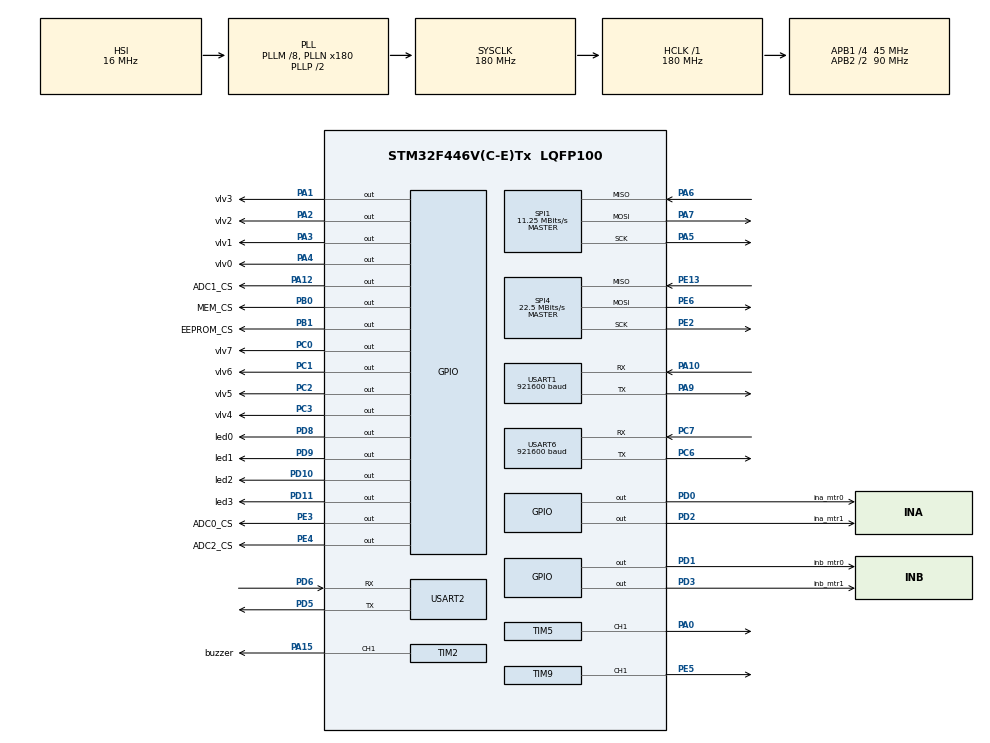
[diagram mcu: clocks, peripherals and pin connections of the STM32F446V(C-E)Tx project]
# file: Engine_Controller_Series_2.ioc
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Dma.Request0=USART6_RX
Dma.USART6_RX.0.Direction=DMA_PERIPH_TO_MEMORY
Dma.USART6_RX.0.FIFOMode=DMA_FIFOMODE_DISABLE
Dma.USART6_RX.0.Instance=DMA2_Stream1
Dma.USART6_RX.0.MemDataAlignment=DMA_MDATAALIGN_BYTE
Dma.USART6_RX.0.MemInc=DMA_MINC_ENABLE
Dma.USART6_RX.0.Mode=DMA_NORMAL
Dma.USART6_RX.0.PeriphDataAlignment=DMA_PDATAALIGN_BYTE
Dma.USART6_RX.0.PeriphInc=DMA_PINC_DISABLE
Dma.USART6_RX.0.Priority=DMA_PRIORITY_HIGH
IWDG.Prescaler=IWDG_PRESCALER_16
Mcu.Family=STM32F4
Mcu.Name=STM32F446V(C-E)Tx
Mcu.Package=LQFP100
NVIC.DMA2_Stream1_IRQn=true\:0\:0\:false\:false\:true\:false
NVIC.PriorityGroup=NVIC_PRIORITYGROUP_4
NVIC.TIM4_IRQn=true\:1\:0\:true\:false\:true\:true
NVIC.TIM6_DAC_IRQn=true\:1\:0\:true\:false\:true\:true
NVIC.USART1_IRQn=true\:1\:0\:true\:false\:true\:true
NVIC.USART6_IRQn=true\:0\:0\:true\:false\:true\:true
PA0-WKUP.Signal=S_TIM5_CH1
PA1.GPIO_Label=vlv3
PA1.Signal=GPIO_Output
PA10.Mode=Asynchronous
PA10.Signal=USART1_RX
PA12.GPIO_Label=ADC1_CS
PA12.Signal=GPIO_Output
PA13.Mode=Trace_Asynchronous_SW
PA13.Signal=SYS_JTMS-SWDIO
PA14.Mode=Trace_Asynchronous_SW
PA14.Signal=SYS_JTCK-SWCLK
PA15.GPIO_Label=buzzer
PA15.Signal=S_TIM2_CH1_ETR
PA2.GPIO_Label=vlv2
PA2.Signal=GPIO_Output
PA3.GPIO_Label=vlv1
PA3.Signal=GPIO_Output
PA4.GPIO_Label=vlv0
PA4.Signal=GPIO_Output
PA5.Mode=Full_Duplex_Master
PA5.Signal=SPI1_SCK
PA6.Mode=Full_Duplex_Master
PA6.Signal=SPI1_MISO
PA7.Mode=Full_Duplex_Master
PA7.Signal=SPI1_MOSI
PA9.Mode=Asynchronous
PA9.Signal=USART1_TX
PB0.GPIO_Label=MEM_CS
PB0.Signal=GPIO_Output
PB1.GPIO_Label=EEPROM_CS
PB1.Signal=GPIO_Output
PB3.Mode=Trace_Asynchronous_SW
PB3.Signal=SYS_JTDO-SWO
PC0.GPIO_Label=vlv7
PC0.Signal=GPIO_Output
PC1.GPIO_Label=vlv6
PC1.Signal=GPIO_Output
PC2.GPIO_Label=vlv5
PC2.Signal=GPIO_Output
PC3.GPIO_Label=vlv4
PC3.Signal=GPIO_Output
PC6.Mode=Asynchronous
PC6.Signal=USART6_TX
PC7.Mode=Asynchronous
PC7.Signal=USART6_RX
PD0.GPIO_Label=ina_mtr0
PD0.Signal=GPIO_Output
PD1.GPIO_Label=inb_mtr0
PD1.Signal=GPIO_Output
PD10.GPIO_Label=led2
PD10.Signal=GPIO_Output
PD11.GPIO_Label=led3
PD11.Signal=GPIO_Output
PD2.GPIO_Label=ina_mtr1
PD2.Signal=GPIO_Output
PD3.GPIO_Label=inb_mtr1
PD3.Signal=GPIO_Output
PD5.Mode=Asynchronous
PD5.Signal=USART2_TX
PD6.Mode=Asynchronous
PD6.Signal=USART2_RX
PD8.GPIO_Label=led0
PD8.Signal=GPIO_Output
PD9.GPIO_Label=led1
PD9.Signal=GPIO_Output
PE13.Mode=Full_Duplex_Master
PE13.Signal=SPI4_MISO
PE2.Mode=Full_Duplex_Master
PE2.Signal=SPI4_SCK
PE3.GPIO_Label=ADC0_CS
PE3.Signal=GPIO_Output
PE4.GPIO_Label=ADC2_CS
PE4.Signal=GPIO_Output
PE5.Signal=S_TIM9_CH1
PE6.Mode=Full_Duplex_Master
PE6.Signal=SPI4_MOSI
ProjectManager.HeapSize=0x200
ProjectManager.StackSize=0x400
ProjectManager.TargetToolchain=TrueSTUDIO
RCC.AHBFreq_Value=180000000
RCC.APB1CLKDivider=RCC_HCLK_DIV4
RCC.APB1Freq_Value=45000000
RCC.APB1TimFreq_Value=90000000
RCC.APB2CLKDivider=RCC_HCLK_DIV2
RCC.APB2Freq_Value=90000000
RCC.APB2TimFreq_Value=180000000
RCC.CortexFreq_Value=180000000
RCC.HCLKFreq_Value=180000000
RCC.HSE_VALUE=16000000
RCC.PLLM=8
RCC.PLLN=180
RCC.SYSCLKFreq_VALUE=180000000
RCC.SYSCLKSource=RCC_SYSCLKSOURCE_PLLCLK
RCC.USBFreq_Value=180000000
RCC.VCOOutputFreq_Value=360000000
SH.S_TIM2_CH1_ETR.0=TIM2_CH1,PWM Generation1 CH1
SH.S_TIM5_CH1.0=TIM5_CH1,PWM Generation1 CH1
SH.S_TIM9_CH1.0=TIM9_CH1,PWM Generation1 CH1
SPI1.BaudRatePrescaler=SPI_BAUDRATEPRESCALER_8
SPI1.CLKPhase=SPI_PHASE_2EDGE
SPI1.CLKPolarity=SPI_POLARITY_HIGH
SPI1.CalculateBaudRate=11.25 MBits/s
SPI1.Direction=SPI_DIRECTION_2LINES
SPI1.Mode=SPI_MODE_MASTER
SPI1.VirtualType=VM_MASTER
SPI4.BaudRatePrescaler=SPI_BAUDRATEPRESCALER_4
SPI4.CalculateBaudRate=22.5 MBits/s
SPI4.Direction=SPI_DIRECTION_2LINES
SPI4.Mode=SPI_MODE_MASTER
SPI4.VirtualType=VM_MASTER
TIM10.Period=4000
TIM10.Prescaler=180
TIM2.Channel-PWM\ Generation1\ CH1=TIM_CHANNEL_1
TIM2.Period=4294967295
TIM2.Prescaler=90
TIM4.Period=10000
TIM4.Prescaler=900
TIM5.Channel-PWM\ Generation1\ CH1=TIM_CHANNEL_1
TIM5.Prescaler=0
TIM6.Period=10000
TIM6.Prescaler=900
TIM7.Prescaler=900
TIM8.Period=32768
TIM8.Prescaler=4
TIM9.Channel-PWM\ Generation1\ CH1=TIM_CHANNEL_1
TIM9.Period=32768
TIM9.Prescaler=0
USART1.BaudRate=921600
USART1.VirtualMode=VM_ASYNC
USART2.VirtualMode=VM_ASYNC
USART6.BaudRate=921600
USART6.VirtualMode=VM_ASYNC
VP_IWDG_VS_IWDG.Mode=IWDG_Activate
VP_TIM10_VS_ClockSourceINT.Mode=Enable_Timer
VP_TIM3_VS_ClockSourceINT.Mode=Internal
VP_TIM4_VS_ClockSourceINT.Mode=Internal
VP_TIM6_VS_ClockSourceINT.Mode=Enable_Timer
VP_TIM7_VS_ClockSourceINT.Mode=Enable_Timer
VP_TIM8_VS_ClockSourceINT.Mode=Internal
board=Engine_Controller_Series_2

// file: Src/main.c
/**
  ******************************************************************************
  * @file           : main.c
  * @brief          : Main program body
  ******************************************************************************
  ** This notice applies to any and all portions of this file
  * that are not between comment pairs USER CODE BEGIN and
  * USER CODE END. Other portions of this file, whether
  * inserted by the user or by software development tools
  * are owned by their respective copyright owners.
  *
  * COPYRIGHT(c) 2018 STMicroelectronics
  *
  * Redistribution and use in source and binary forms, with or without modification,
  * are permitted provided that the following conditions are met:
  *   1. Redistributions of source code must retain the above copyright notice,
  *      this list of conditions and the following disclaimer.
  *   2. Redistributions in binary form must reproduce the above copyright notice,
  *      this list of conditions and the following disclaimer in the documentation
  *      and/or other materials provided with the distribution.
  *   3. Neither the name of STMicroelectronics nor the names of its contributors
  *      may be used to endorse or promote products derived from this software
  *      without specific prior written permission.
  *
  * THIS SOFTWARE IS PROVIDED BY THE COPYRIGHT HOLDERS AND CONTRIBUTORS "AS IS"
  * AND ANY EXPRESS OR IMPLIED WARRANTIES, INCLUDING, BUT NOT LIMITED TO, THE
  * IMPLIED WARRANTIES OF MERCHANTABILITY AND FITNESS FOR A PARTICULAR PURPOSE ARE
  * DISCLAIMED. IN NO EVENT SHALL THE COPYRIGHT HOLDER OR CONTRIBUTORS BE LIABLE
  * FOR ANY DIRECT, INDIRECT, INCIDENTAL, SPECIAL, EXEMPLARY, OR CONSEQUENTIAL
  * DAMAGES (INCLUDING, BUT NOT LIMITED TO, PROCUREMENT OF SUBSTITUTE GOODS OR
  * SERVICES; LOSS OF USE, DATA, OR PROFITS; OR BUSINESS INTERRUPTION) HOWEVER
  * CAUSED AND ON ANY THEORY OF LIABILITY, WHETHER IN CONTRACT, STRICT LIABILITY,
  * OR TORT (INCLUDING NEGLIGENCE OR OTHERWISE) ARISING IN ANY WAY OUT OF THE USE
  * OF THIS SOFTWARE, EVEN IF ADVISED OF THE POSSIBILITY OF SUCH DAMAGE.
  *
  ******************************************************************************
  */
#include "main.h"
#include "stm32f4xx_hal.h"

/* USER CODE BEGIN Includes */
#include "stdint.h"
#include "stdlib.h"
#include "globals.h"
#include "calibrations.h"
#include "telem.h"
#include "pack_telem_defines.h"
#include "command.h"
#include "hardware.h"
#include "flash.h"
#include "config.h"
#include "string.h"
/* USER CODE END Includes */

IWDG_HandleTypeDef hiwdg;

SPI_HandleTypeDef hspi1;
SPI_HandleTypeDef hspi4;

TIM_HandleTypeDef htim2;
TIM_HandleTypeDef htim3;
TIM_HandleTypeDef htim4;
TIM_HandleTypeDef htim5;
TIM_HandleTypeDef htim6;
TIM_HandleTypeDef htim7;
TIM_HandleTypeDef htim8;
TIM_HandleTypeDef htim9;
TIM_HandleTypeDef htim10;

UART_HandleTypeDef huart1;
UART_HandleTypeDef huart2;
UART_HandleTypeDef huart6;
DMA_HandleTypeDef hdma_usart6_rx;

/* USER CODE BEGIN PV */
/* Private variables ---------------------------------------------------------*/
#define millis	((__HAL_TIM_GET_COUNTER(&htim2))/1000)

#define DMA_RX_BUFFER_SIZE          (PACKET_SIZE + 2)
uint8_t DMA_RX_Buffer[DMA_RX_BUFFER_SIZE];
//
#define UART_BUFFER_SIZE            256
uint8_t UART_Buffer[UART_BUFFER_SIZE];

/* USER CODE END PV */

void SystemClock_Config(void);
static void MX_GPIO_Init(void);
static void MX_DMA_Init(void);
static void MX_SPI1_Init(void);
static void MX_SPI4_Init(void);
static void MX_TIM2_Init(void);
static void MX_TIM9_Init(void);
static void MX_USART1_UART_Init(void);
static void MX_USART2_UART_Init(void);
static void MX_USART6_UART_Init(void);
static void MX_TIM3_Init(void);
static void MX_TIM4_Init(void);
static void MX_TIM6_Init(void);
static void MX_TIM7_Init(void);
static void MX_TIM8_Init(void);
static void MX_TIM10_Init(void);
static void MX_IWDG_Init(void);
static void MX_TIM5_Init(void);

void HAL_TIM_MspPostInit(TIM_HandleTypeDef *htim);

/* USER CODE BEGIN PFP */
/* Private function prototypes -----------------------------------------------*/

// Function prototypes  ///////////////////////////////////
void print_adc_raw(UART_HandleTypeDef device);				// Print all the ADC things in a decentish table
uint8_t configure_devices();								// Send Configuration data to the spirit.
void send_telem(UART_HandleTypeDef device, uint8_t format);	//
void assemble_telem();

void scale_readings();
void buffer_init(struct buffer *b, uint8_t* data_buffer, size_t size, uint8_t id);
void buffer_read(struct buffer *b, uint8_t* dst, size_t size);
void buffer_write(struct buffer *b, uint8_t* src, size_t size);
void parse_buffer(struct buffer *b);

void error(char * error_message);

void run_auto(struct autosequence *a);
void start_auto(struct autosequence *a);
void stop_auto(struct autosequence *a);
void kill_auto(struct autosequence *a);

/* USER CODE END PFP */

/* USER CODE BEGIN 0 */

void system_init(){
	// Start the timers
	HAL_TIM_Base_Start_IT(&htim4);		// ADC sampling
	HAL_TIM_Base_Start_IT(&htim6);		// rs422 timing
	HAL_TIM_Base_Start_IT(&htim7);		// xbee timing
	HAL_TIM_Base_Start_IT(&htim10);		// motor control timing
	HAL_TIM_Base_Start_IT(&htim2);		// microsecond tick

	HAL_TIM_PWM_Start(&htim9, TIM_CHANNEL_1); 	// mtr0
	HAL_TIM_PWM_Start(&htim5, TIM_CHANNEL_1);	// mtr1

	prime_bridge();

	for(uint8_t n = 0; n < 255; n++){
		upstream_buffer.data[n] = 0;
	}

	HAL_UART_Receive_IT(&huart1, &rs422_in, 1);
	HAL_UART_Receive_IT(&huart6, &uart6_in, 1);
	//HAL_UART_Receive_DMA(&huart6, &uart6_in, PACKET_SIZE+2);

	for(int n = 0; n < 4; n++){
		  command(led0-n,1);
		  HAL_Delay(10);
		  command(led0-n, 0);
	  }

	p = init_parser(BOARD_ID);
	//load_commands(&p);
	add_command(&p, COMMAND_DIGITAL_WRITE, 	digital_write);
	add_command(&p, COMMAND_LED_WRITE, 		led_write);
	add_command(&p, COMMAND_MOTOR_WRITE, 	motor_write);
	add_command(&p, COMMAND_MOTOR_DISABLE, 	motor_disable);
	add_command(&p, COMMAND_MOTOR_ENABLE, 	motor_enable);
	add_command(&p, COMMAND_SET_KP, 		set_kp);
	add_command(&p, COMMAND_SET_KI, 		set_ki);
	add_command(&p, COMMAND_SET_KD, 		set_kd);
	add_command(&p, COMMAND_TELEMRATE_SET, 	telemrate_set);
	add_command(&p, COMMAND_SAMPLERATE_SET, samplerate_set);
	add_command(&p, COMMAND_ARM, 			arm);
	add_command(&p, COMMAND_DISARM, 		disarm);
	add_command(&p, COMMAND_MAIN_AUTO_START,main_auto_start);
	add_command(&p, COMMAND_PWM_SET, 		pwm_set);
	add_command(&p, COMMAND_QD_SET, 		qd_set);
	add_command(&p, COMMAND_TARE, 			tare);
	add_command(&p, COMMAND_AMBIENTIZE, 	ambientize);
	add_command(&p, COMMAND_LOGRATE_SET, 	lograte_set);
	add_command(&p, COMMAND_PRINT_FILE, 	print_file);
	add_command(&p, COMMAND_NUMFILES, 		numfiles);
	add_command(&p, COMMAD_LOG_START, 		log_start);
	add_command(&p, COMMAD_LOG_END, 		log_end);
	add_command(&p, COMMAD_INIT_FS, 		init_fs);
	add_command(&p, COMMAND_TELEM_PAUSE, 		telem_pause);
	add_command(&p, COMMAND_TELEM_RESUME, 		telem_resume);
	add_command(&p, COMMAND_PRIME_BRIDGE,		prime_bridge_wrapper);

	release_device(adc0);
	release_device(adc1);
	release_device(adc2);
	release_device(flash);

  unlock_all(); // Flash init

}

/* USER CODE END 0 */

int main(void)
{

  /* MCU Configuration----------------------------------------------------------*/

  /* Reset of all peripherals, Initializes the Flash interface and the Systick. */
  HAL_Init();

  /* Configure the system clock */
  SystemClock_Config();

  /* Initialize all configured peripherals */
  MX_GPIO_Init();
  MX_DMA_Init();
  MX_SPI1_Init();
  MX_SPI4_Init();
  MX_TIM2_Init();
  MX_TIM9_Init();
  MX_USART1_UART_Init();
  MX_USART2_UART_Init();
  MX_USART6_UART_Init();
  MX_TIM3_Init();
  MX_TIM4_Init();
  MX_TIM6_Init();
  MX_TIM7_Init();
  MX_TIM8_Init();
  MX_TIM10_Init();
  MX_IWDG_Init();
  MX_TIM5_Init();
  /* USER CODE BEGIN 2 */

 	system_init();
 	read_flash_id();

  /* USER CODE END 2 */

  /* Infinite loop */
  /* USER CODE BEGIN WHILE */

 	uint32_t last_motor_millis = 0;

while(1){
	HAL_GPIO_WritePin(led0_GPIO_Port, led0_Pin, 1);
	HAL_Delay(1000);
	HAL_GPIO_WritePin(led0_GPIO_Port, led0_Pin, 0);
		HAL_Delay(1000);

}
  while (1)
  {

#if BOARD_ID == TARGET_ADDRESS_FLIGHT
	  if(STATE == FIRING){
		  run_auto(millis);
		  __HAL_IWDG_RELOAD_COUNTER(&hiwdg);
	  }
#endif
 //Check if packet is in from downstream engine controller
    for(uint8_t n = 0; n < 255; n++){
        if(upstream_buffer.data[n] == (uint8_t) '\n'){
        	command(led1, 1);
        	//__disable_irq();
        	HAL_Delay(0);
//        	while(millis - xmit_counter < xmit_delay);
            HAL_UART_Transmit(&huart1, upstream_buffer.data, n+1, 0xffff);
//            xmit_counter = millis;
            command(led1, 0);
//            send_rs422_now = 1;
//            pack_telem(telem_unstuffed);
//			stuff_telem(telem_unstuffed, telem_stuffed);
//			send_telem(rs422_com, gui_byte_packet);
//			TIME(telemetry_cycle_time);
//			__HAL_IWDG_RELOAD_COUNTER(&hiwdg);

            upstream_buffer.filled = 0;
            for(int j = 0; j < 255; j++){
                upstream_buffer.data[j] = 0;
            }
            //__enable_irq();
            break;
        }
    }

    if(read_adc_now){
        read_adc_now = 0;
        read_adc(&hspi1);
        scale_readings();
        pack_telem(telem_unstuffed);
		stuff_telem(telem_unstuffed, telem_stuffed);
        TIME(adc_cycle_time);
        if(LOGGING_ACTIVE){
        	save_telem(logfile);
        }
    }
#if BOARD_ID == TARGET_ADDRESS_FLIGHT
    if((millis - last_motor_millis) > 10){
        motor_control();
        last_motor_millis = millis;
    }
#endif

    if(send_rs422_now && TELEM_ACTIVE){
        send_rs422_now = 0;

		send_telem(rs422_com, gui_byte_packet);
        //xmit_counter = millis;

        TIME(telemetry_cycle_time);
        //__HAL_IWDG_RELOAD_COUNTER(&hiwdg);
    }

if(p.buffer[p.filled - 1] == 0){
run_parser(&p);
}

  /* USER CODE END WHILE */

  }

}

void SystemClock_Config(void)
{

  RCC_OscInitTypeDef RCC_OscInitStruct;
  RCC_ClkInitTypeDef RCC_ClkInitStruct;

    /**Configure the main internal regulator output voltage
    */
  __HAL_RCC_PWR_CLK_ENABLE();

  __HAL_PWR_VOLTAGESCALING_CONFIG(PWR_REGULATOR_VOLTAGE_SCALE1);

    /**Initializes the CPU, AHB and APB busses clocks
    */
  RCC_OscInitStruct.OscillatorType = RCC_OSCILLATORTYPE_HSI|RCC_OSCILLATORTYPE_LSI;
  RCC_OscInitStruct.HSIState = RCC_HSI_ON;
  RCC_OscInitStruct.HSICalibrationValue = 16;
  RCC_OscInitStruct.LSIState = RCC_LSI_ON;
  RCC_OscInitStruct.PLL.PLLState = RCC_PLL_ON;
  RCC_OscInitStruct.PLL.PLLSource = RCC_PLLSOURCE_HSI;
  RCC_OscInitStruct.PLL.PLLM = 8;
  RCC_OscInitStruct.PLL.PLLN = 180;
  RCC_OscInitStruct.PLL.PLLP = RCC_PLLP_DIV2;
  RCC_OscInitStruct.PLL.PLLQ = 2;
  RCC_OscInitStruct.PLL.PLLR = 2;
  if (HAL_RCC_OscConfig(&RCC_OscInitStruct) != HAL_OK)
  {
    _Error_Handler(__FILE__, __LINE__);
  }

    /**Activate the Over-Drive mode
    */
  if (HAL_PWREx_EnableOverDrive() != HAL_OK)
  {
    _Error_Handler(__FILE__, __LINE__);
  }

    /**Initializes the CPU, AHB and APB busses clocks
    */
  RCC_ClkInitStruct.ClockType = RCC_CLOCKTYPE_HCLK|RCC_CLOCKTYPE_SYSCLK
                              |RCC_CLOCKTYPE_PCLK1|RCC_CLOCKTYPE_PCLK2;
  RCC_ClkInitStruct.SYSCLKSource = RCC_SYSCLKSOURCE_PLLCLK;
  RCC_ClkInitStruct.AHBCLKDivider = RCC_SYSCLK_DIV1;
  RCC_ClkInitStruct.APB1CLKDivider = RCC_HCLK_DIV4;
  RCC_ClkInitStruct.APB2CLKDivider = RCC_HCLK_DIV2;

  if (HAL_RCC_ClockConfig(&RCC_ClkInitStruct, FLASH_LATENCY_5) != HAL_OK)
  {
    _Error_Handler(__FILE__, __LINE__);
  }

    /**Configure the Systick interrupt time
    */
  HAL_SYSTICK_Config(HAL_RCC_GetHCLKFreq()/1000);

    /**Configure the Systick
    */
  HAL_SYSTICK_CLKSourceConfig(SYSTICK_CLKSOURCE_HCLK);

  /* SysTick_IRQn interrupt configuration */
  HAL_NVIC_SetPriority(SysTick_IRQn, 1, 0);
}

/* IWDG init function */
static void MX_IWDG_Init(void)
{

  hiwdg.Instance = IWDG;
  hiwdg.Init.Prescaler = IWDG_PRESCALER_16;
  hiwdg.Init.Reload = 4095;
  if (HAL_IWDG_Init(&hiwdg) != HAL_OK)
  {
    _Error_Handler(__FILE__, __LINE__);
  }

}

/* SPI1 init function */
static void MX_SPI1_Init(void)
{

  /* SPI1 parameter configuration*/
  hspi1.Instance = SPI1;
  hspi1.Init.Mode = SPI_MODE_MASTER;
  hspi1.Init.Direction = SPI_DIRECTION_2LINES;
  hspi1.Init.DataSize = SPI_DATASIZE_8BIT;
  hspi1.Init.CLKPolarity = SPI_POLARITY_HIGH;
  hspi1.Init.CLKPhase = SPI_PHASE_2EDGE;
  hspi1.Init.NSS = SPI_NSS_SOFT;
  hspi1.Init.BaudRatePrescaler = SPI_BAUDRATEPRESCALER_8;
  hspi1.Init.FirstBit = SPI_FIRSTBIT_MSB;
  hspi1.Init.TIMode = SPI_TIMODE_DISABLE;
  hspi1.Init.CRCCalculation = SPI_CRCCALCULATION_DISABLE;
  hspi1.Init.CRCPolynomial = 10;
  if (HAL_SPI_Init(&hspi1) != HAL_OK)
  {
    _Error_Handler(__FILE__, __LINE__);
  }

}

/* SPI4 init function */
static void MX_SPI4_Init(void)
{

  /* SPI4 parameter configuration*/
  hspi4.Instance = SPI4;
  hspi4.Init.Mode = SPI_MODE_MASTER;
  hspi4.Init.Direction = SPI_DIRECTION_2LINES;
  hspi4.Init.DataSize = SPI_DATASIZE_8BIT;
  hspi4.Init.CLKPolarity = SPI_POLARITY_LOW;
  hspi4.Init.CLKPhase = SPI_PHASE_1EDGE;
  hspi4.Init.NSS = SPI_NSS_SOFT;
  hspi4.Init.BaudRatePrescaler = SPI_BAUDRATEPRESCALER_4;
  hspi4.Init.FirstBit = SPI_FIRSTBIT_MSB;
  hspi4.Init.TIMode = SPI_TIMODE_DISABLE;
  hspi4.Init.CRCCalculation = SPI_CRCCALCULATION_DISABLE;
  hspi4.Init.CRCPolynomial = 10;
  if (HAL_SPI_Init(&hspi4) != HAL_OK)
  {
    _Error_Handler(__FILE__, __LINE__);
  }

}

/* TIM2 init function */
static void MX_TIM2_Init(void)
{

  TIM_MasterConfigTypeDef sMasterConfig;
  TIM_OC_InitTypeDef sConfigOC;

  htim2.Instance = TIM2;
  htim2.Init.Prescaler = 90;
  htim2.Init.CounterMode = TIM_COUNTERMODE_UP;
  htim2.Init.Period = 4294967295;
  htim2.Init.ClockDivision = TIM_CLOCKDIVISION_DIV1;
  if (HAL_TIM_PWM_Init(&htim2) != HAL_OK)
  {
    _Error_Handler(__FILE__, __LINE__);
  }

  sMasterConfig.MasterOutputTrigger = TIM_TRGO_RESET;
  sMasterConfig.MasterSlaveMode = TIM_MASTERSLAVEMODE_DISABLE;
  if (HAL_TIMEx_MasterConfigSynchronization(&htim2, &sMasterConfig) != HAL_OK)
  {
    _Error_Handler(__FILE__, __LINE__);
  }

  sConfigOC.OCMode = TIM_OCMODE_PWM1;
  sConfigOC.Pulse = 0;
  sConfigOC.OCPolarity = TIM_OCPOLARITY_HIGH;
  sConfigOC.OCFastMode = TIM_OCFAST_DISABLE;
  if (HAL_TIM_PWM_ConfigChannel(&htim2, &sConfigOC, TIM_CHANNEL_1) != HAL_OK)
  {
    _Error_Handler(__FILE__, __LINE__);
  }

  HAL_TIM_MspPostInit(&htim2);

}

/* TIM3 init function */
static void MX_TIM3_Init(void)
{

  TIM_ClockConfigTypeDef sClockSourceConfig;
  TIM_MasterConfigTypeDef sMasterConfig;

  htim3.Instance = TIM3;
  htim3.Init.Prescaler = 0;
  htim3.Init.CounterMode = TIM_COUNTERMODE_UP;
  htim3.Init.Period = 0;
  htim3.Init.ClockDivision = TIM_CLOCKDIVISION_DIV1;
  if (HAL_TIM_Base_Init(&htim3) != HAL_OK)
  {
    _Error_Handler(__FILE__, __LINE__);
  }

  sClockSourceConfig.ClockSource = TIM_CLOCKSOURCE_INTERNAL;
  if (HAL_TIM_ConfigClockSource(&htim3, &sClockSourceConfig) != HAL_OK)
  {
    _Error_Handler(__FILE__, __LINE__);
  }

  sMasterConfig.MasterOutputTrigger = TIM_TRGO_RESET;
  sMasterConfig.MasterSlaveMode = TIM_MASTERSLAVEMODE_DISABLE;
  if (HAL_TIMEx_MasterConfigSynchronization(&htim3, &sMasterConfig) != HAL_OK)
  {
    _Error_Handler(__FILE__, __LINE__);
  }

}

/* TIM4 init function */
static void MX_TIM4_Init(void)
{

  TIM_ClockConfigTypeDef sClockSourceConfig;
  TIM_MasterConfigTypeDef sMasterConfig;

  htim4.Instance = TIM4;
  htim4.Init.Prescaler = 900;
  htim4.Init.CounterMode = TIM_COUNTERMODE_UP;
  htim4.Init.Period = 10000;
  htim4.Init.ClockDivision = TIM_CLOCKDIVISION_DIV1;
  if (HAL_TIM_Base_Init(&htim4) != HAL_OK)
  {
    _Error_Handler(__FILE__, __LINE__);
  }

  sClockSourceConfig.ClockSource = TIM_CLOCKSOURCE_INTERNAL;
  if (HAL_TIM_ConfigClockSource(&htim4, &sClockSourceConfig) != HAL_OK)
  {
    _Error_Handler(__FILE__, __LINE__);
  }

  sMasterConfig.MasterOutputTrigger = TIM_TRGO_RESET;
  sMasterConfig.MasterSlaveMode = TIM_MASTERSLAVEMODE_DISABLE;
  if (HAL_TIMEx_MasterConfigSynchronization(&htim4, &sMasterConfig) != HAL_OK)
  {
    _Error_Handler(__FILE__, __LINE__);
  }

}

/* TIM5 init function */
static void MX_TIM5_Init(void)
{

  TIM_MasterConfigTypeDef sMasterConfig;
  TIM_OC_InitTypeDef sConfigOC;

  htim5.Instance = TIM5;
  htim5.Init.Prescaler = 0;
  htim5.Init.CounterMode = TIM_COUNTERMODE_UP;
  htim5.Init.Period = 0;
  htim5.Init.ClockDivision = TIM_CLOCKDIVISION_DIV1;
  if (HAL_TIM_PWM_Init(&htim5) != HAL_OK)
  {
    _Error_Handler(__FILE__, __LINE__);
  }

  sMasterConfig.MasterOutputTrigger = TIM_TRGO_RESET;
  sMasterConfig.MasterSlaveMode = TIM_MASTERSLAVEMODE_DISABLE;
  if (HAL_TIMEx_MasterConfigSynchronization(&htim5, &sMasterConfig) != HAL_OK)
  {
    _Error_Handler(__FILE__, __LINE__);
  }

  sConfigOC.OCMode = TIM_OCMODE_PWM1;
  sConfigOC.Pulse = 0;
  sConfigOC.OCPolarity = TIM_OCPOLARITY_HIGH;
  sConfigOC.OCFastMode = TIM_OCFAST_DISABLE;
  if (HAL_TIM_PWM_ConfigChannel(&htim5, &sConfigOC, TIM_CHANNEL_1) != HAL_OK)
  {
    _Error_Handler(__FILE__, __LINE__);
  }

  HAL_TIM_MspPostInit(&htim5);

}

/* TIM6 init function */
static void MX_TIM6_Init(void)
{

  TIM_MasterConfigTypeDef sMasterConfig;

  htim6.Instance = TIM6;
  htim6.Init.Prescaler = 900;
  htim6.Init.CounterMode = TIM_COUNTERMODE_UP;
  htim6.Init.Period = 10000;
  if (HAL_TIM_Base_Init(&htim6) != HAL_OK)
  {
    _Error_Handler(__FILE__, __LINE__);
  }

  sMasterConfig.MasterOutputTrigger = TIM_TRGO_RESET;
  sMasterConfig.MasterSlaveMode = TIM_MASTERSLAVEMODE_DISABLE;
  if (HAL_TIMEx_MasterConfigSynchronization(&htim6, &sMasterConfig) != HAL_OK)
  {
    _Error_Handler(__FILE__, __LINE__);
  }

}

/* TIM7 init function */
static void MX_TIM7_Init(void)
{

  TIM_MasterConfigTypeDef sMasterConfig;

  htim7.Instance = TIM7;
  htim7.Init.Prescaler = 900;
  htim7.Init.CounterMode = TIM_COUNTERMODE_UP;
  htim7.Init.Period = 0;
  if (HAL_TIM_Base_Init(&htim7) != HAL_OK)
  {
    _Error_Handler(__FILE__, __LINE__);
  }

  sMasterConfig.MasterOutputTrigger = TIM_TRGO_RESET;
  sMasterConfig.MasterSlaveMode = TIM_MASTERSLAVEMODE_DISABLE;
  if (HAL_TIMEx_MasterConfigSynchronization(&htim7, &sMasterConfig) != HAL_OK)
  {
    _Error_Handler(__FILE__, __LINE__);
  }

}

/* TIM8 init function */
static void MX_TIM8_Init(void)
{

  TIM_ClockConfigTypeDef sClockSourceConfig;
  TIM_MasterConfigTypeDef sMasterConfig;

  htim8.Instance = TIM8;
  htim8.Init.Prescaler = 4;
  htim8.Init.CounterMode = TIM_COUNTERMODE_UP;
  htim8.Init.Period = 32768;
  htim8.Init.ClockDivision = TIM_CLOCKDIVISION_DIV1;
  htim8.Init.RepetitionCounter = 0;
  if (HAL_TIM_Base_Init(&htim8) != HAL_OK)
  {
    _Error_Handler(__FILE__, __LINE__);
  }

  sClockSourceConfig.ClockSource = TIM_CLOCKSOURCE_INTERNAL;
  if (HAL_TIM_ConfigClockSource(&htim8, &sClockSourceConfig) != HAL_OK)
  {
    _Error_Handler(__FILE__, __LINE__);
  }

  sMasterConfig.MasterOutputTrigger = TIM_TRGO_RESET;
  sMasterConfig.MasterSlaveMode = TIM_MASTERSLAVEMODE_DISABLE;
  if (HAL_TIMEx_MasterConfigSynchronization(&htim8, &sMasterConfig) != HAL_OK)
  {
    _Error_Handler(__FILE__, __LINE__);
  }

}

/* TIM9 init function */
static void MX_TIM9_Init(void)
{

  TIM_OC_InitTypeDef sConfigOC;

  htim9.Instance = TIM9;
  htim9.Init.Prescaler = 0;
  htim9.Init.CounterMode = TIM_COUNTERMODE_UP;
  htim9.Init.Period = 32768;
  htim9.Init.ClockDivision = TIM_CLOCKDIVISION_DIV1;
  if (HAL_TIM_PWM_Init(&htim9) != HAL_OK)
  {
    _Error_Handler(__FILE__, __LINE__);
  }

  sConfigOC.OCMode = TIM_OCMODE_PWM1;
  sConfigOC.Pulse = 0;
  sConfigOC.OCPolarity = TIM_OCPOLARITY_HIGH;
  sConfigOC.OCFastMode = TIM_OCFAST_DISABLE;
  if (HAL_TIM_PWM_ConfigChannel(&htim9, &sConfigOC, TIM_CHANNEL_1) != HAL_OK)
  {
    _Error_Handler(__FILE__, __LINE__);
  }

  HAL_TIM_MspPostInit(&htim9);

}

/* TIM10 init function */
static void MX_TIM10_Init(void)
{

  htim10.Instance = TIM10;
  htim10.Init.Prescaler = 180;
  htim10.Init.CounterMode = TIM_COUNTERMODE_UP;
  htim10.Init.Period = 4000;
  htim10.Init.ClockDivision = TIM_CLOCKDIVISION_DIV1;
  if (HAL_TIM_Base_Init(&htim10) != HAL_OK)
  {
    _Error_Handler(__FILE__, __LINE__);
  }

}

/* USART1 init function */
static void MX_USART1_UART_Init(void)
{

  huart1.Instance = USART1;
  huart1.Init.BaudRate = 921600;
  huart1.Init.WordLength = UART_WORDLENGTH_8B;
  huart1.Init.StopBits = UART_STOPBITS_1;
  huart1.Init.Parity = UART_PARITY_NONE;
  huart1.Init.Mode = UART_MODE_TX_RX;
  huart1.Init.HwFlowCtl = UART_HWCONTROL_NONE;
  huart1.Init.OverSampling = UART_OVERSAMPLING_16;
  if (HAL_UART_Init(&huart1) != HAL_OK)
  {
    _Error_Handler(__FILE__, __LINE__);
  }

}

/* USART2 init function */
static void MX_USART2_UART_Init(void)
{

  huart2.Instance = USART2;
  huart2.Init.BaudRate = 115200;
  huart2.Init.WordLength = UART_WORDLENGTH_8B;
  huart2.Init.StopBits = UART_STOPBITS_1;
  huart2.Init.Parity = UART_PARITY_NONE;
  huart2.Init.Mode = UART_MODE_TX_RX;
  huart2.Init.HwFlowCtl = UART_HWCONTROL_NONE;
  huart2.Init.OverSampling = UART_OVERSAMPLING_16;
  if (HAL_UART_Init(&huart2) != HAL_OK)
  {
    _Error_Handler(__FILE__, __LINE__);
  }

}

/* USART6 init function */
static void MX_USART6_UART_Init(void)
{

  huart6.Instance = USART6;
  huart6.Init.BaudRate = 921600;
  huart6.Init.WordLength = UART_WORDLENGTH_8B;
  huart6.Init.StopBits = UART_STOPBITS_1;
  huart6.Init.Parity = UART_PARITY_NONE;
  huart6.Init.Mode = UART_MODE_TX_RX;
  huart6.Init.HwFlowCtl = UART_HWCONTROL_NONE;
  huart6.Init.OverSampling = UART_OVERSAMPLING_16;
  if (HAL_UART_Init(&huart6) != HAL_OK)
  {
    _Error_Handler(__FILE__, __LINE__);
  }

}

static void MX_DMA_Init(void)
{
  /* DMA controller clock enable */
  __HAL_RCC_DMA2_CLK_ENABLE();

  /* DMA interrupt init */
  /* DMA2_Stream1_IRQn interrupt configuration */
  HAL_NVIC_SetPriority(DMA2_Stream1_IRQn, 0, 0);
  HAL_NVIC_EnableIRQ(DMA2_Stream1_IRQn);

}

/** Configure pins as
        * Analog
        * Input
        * Output
        * EVENT_OUT
        * EXTI
*/
static void MX_GPIO_Init(void)
{

  GPIO_InitTypeDef GPIO_InitStruct;

  /* GPIO Ports Clock Enable */
  __HAL_RCC_GPIOE_CLK_ENABLE();
  __HAL_RCC_GPIOC_CLK_ENABLE();
  __HAL_RCC_GPIOA_CLK_ENABLE();
  __HAL_RCC_GPIOB_CLK_ENABLE();
  __HAL_RCC_GPIOD_CLK_ENABLE();

  /*Configure GPIO pin Output Level */
  HAL_GPIO_WritePin(GPIOE, ADC0_CS_Pin|ADC2_CS_Pin, GPIO_PIN_RESET);

  /*Configure GPIO pin Output Level */
  HAL_GPIO_WritePin(GPIOC, vlv7_Pin|vlv6_Pin|vlv5_Pin|vlv4_Pin, GPIO_PIN_RESET);

  /*Configure GPIO pin Output Level */
  HAL_GPIO_WritePin(GPIOA, vlv3_Pin|vlv2_Pin|vlv1_Pin|vlv0_Pin
                          |ADC1_CS_Pin, GPIO_PIN_RESET);

  /*Configure GPIO pin Output Level */
  HAL_GPIO_WritePin(GPIOB, MEM_CS_Pin|EEPROM_CS_Pin, GPIO_PIN_RESET);

  /*Configure GPIO pin Output Level */
  HAL_GPIO_WritePin(GPIOD, led0_Pin|led1_Pin|led2_Pin|led3_Pin
                          |ina_mtr0_Pin|inb_mtr0_Pin|ina_mtr1_Pin|inb_mtr1_Pin, GPIO_PIN_RESET);

  /*Configure GPIO pins : ADC0_CS_Pin ADC2_CS_Pin */
  GPIO_InitStruct.Pin = ADC0_CS_Pin|ADC2_CS_Pin;
  GPIO_InitStruct.Mode = GPIO_MODE_OUTPUT_PP;
  GPIO_InitStruct.Pull = GPIO_NOPULL;
  GPIO_InitStruct.Speed = GPIO_SPEED_FREQ_LOW;
  HAL_GPIO_Init(GPIOE, &GPIO_InitStruct);

  /*Configure GPIO pins : vlv7_Pin vlv6_Pin vlv5_Pin vlv4_Pin */
  GPIO_InitStruct.Pin = vlv7_Pin|vlv6_Pin|vlv5_Pin|vlv4_Pin;
  GPIO_InitStruct.Mode = GPIO_MODE_OUTPUT_PP;
  GPIO_InitStruct.Pull = GPIO_NOPULL;
  GPIO_InitStruct.Speed = GPIO_SPEED_FREQ_LOW;
  HAL_GPIO_Init(GPIOC, &GPIO_InitStruct);

  /*Configure GPIO pins : vlv3_Pin vlv2_Pin vlv1_Pin vlv0_Pin
                           ADC1_CS_Pin */
  GPIO_InitStruct.Pin = vlv3_Pin|vlv2_Pin|vlv1_Pin|vlv0_Pin
                          |ADC1_CS_Pin;
  GPIO_InitStruct.Mode = GPIO_MODE_OUTPUT_PP;
  GPIO_InitStruct.Pull = GPIO_NOPULL;
  GPIO_InitStruct.Speed = GPIO_SPEED_FREQ_LOW;
  HAL_GPIO_Init(GPIOA, &GPIO_InitStruct);

  /*Configure GPIO pins : MEM_CS_Pin EEPROM_CS_Pin */
  GPIO_InitStruct.Pin = MEM_CS_Pin|EEPROM_CS_Pin;
  GPIO_InitStruct.Mode = GPIO_MODE_OUTPUT_PP;
  GPIO_InitStruct.Pull = GPIO_NOPULL;
  GPIO_InitStruct.Speed = GPIO_SPEED_FREQ_LOW;
  HAL_GPIO_Init(GPIOB, &GPIO_InitStruct);

  /*Configure GPIO pins : led0_Pin led1_Pin led2_Pin led3_Pin
                           ina_mtr0_Pin inb_mtr0_Pin ina_mtr1_Pin inb_mtr1_Pin */
  GPIO_InitStruct.Pin = led0_Pin|led1_Pin|led2_Pin|led3_Pin
                          |ina_mtr0_Pin|inb_mtr0_Pin|ina_mtr1_Pin|inb_mtr1_Pin;
  GPIO_InitStruct.Mode = GPIO_MODE_OUTPUT_PP;
  GPIO_InitStruct.Pull = GPIO_NOPULL;
  GPIO_InitStruct.Speed = GPIO_SPEED_FREQ_LOW;
  HAL_GPIO_Init(GPIOD, &GPIO_InitStruct);

}

void _Error_Handler(char *file, int line)
{
  while(1)
  {
  }
}

/************************ (C) COPYRIGHT STMicroelectronics *****END OF FILE****/
